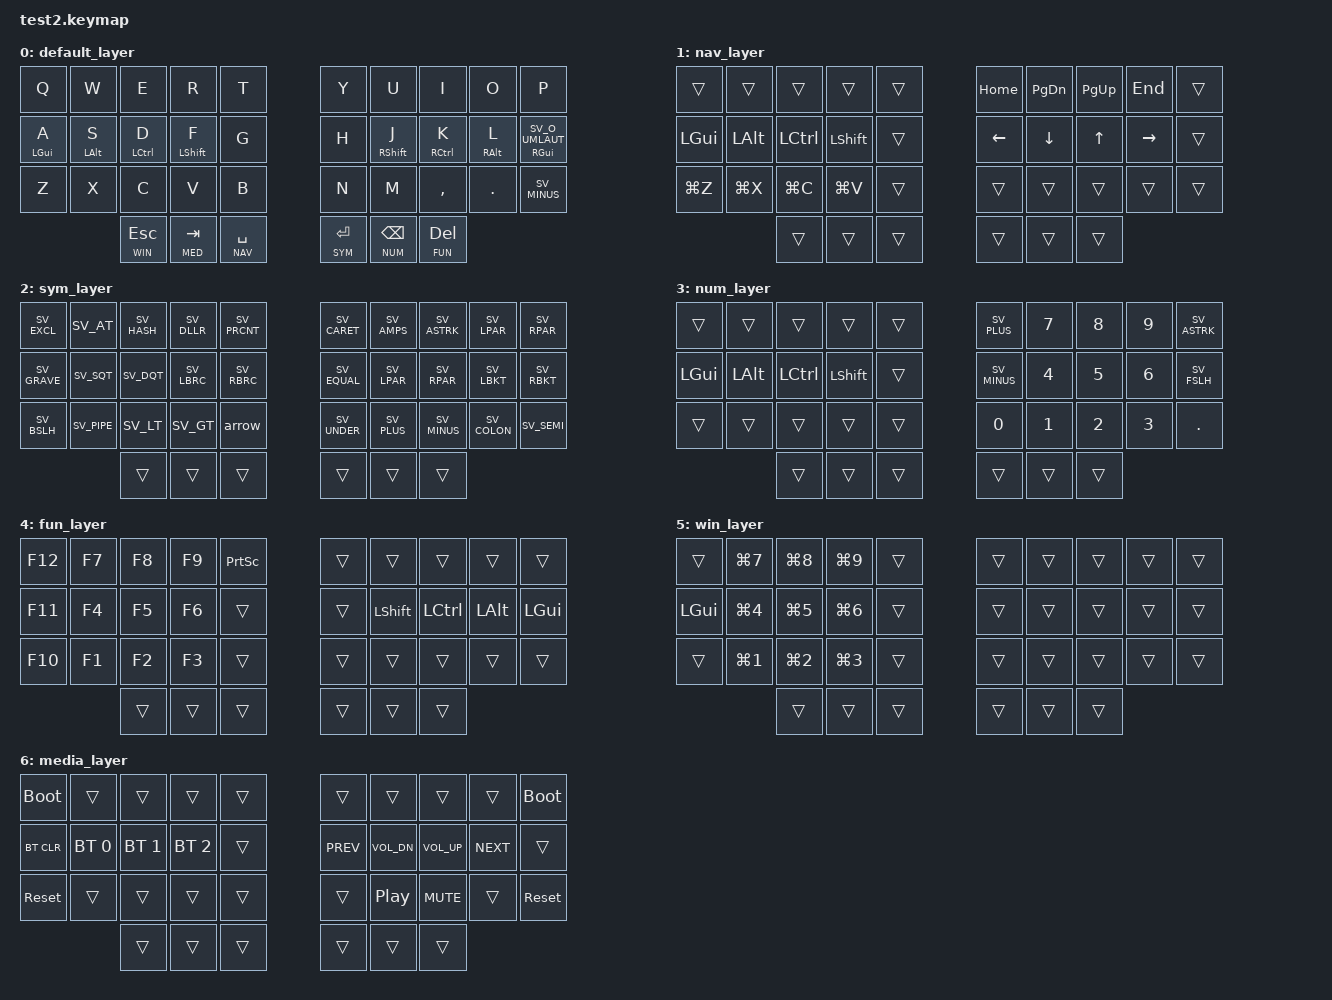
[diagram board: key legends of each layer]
 /*
 * Copyright (c) 2025 ZMK Contributors
 *
 * SPDX-License-Identifier: MIT
 */

#include <behaviors.dtsi>
#include <dt-bindings/zmk/keys.h>
#include <dt-bindings/zmk/bt.h>
#include <dt-bindings/zmk/outputs.h>
#include "../../../config/keys_sv.h"

/* Layer Definitions */
#define BASE 0
#define NAV  1
#define SYM  2
#define NUM  3
#define FUN  4
#define WIN  5
#define MED  6

/ {
    behaviors {
        hm: homerow_mods {
            compatible = "zmk,behavior-hold-tap";
            label = "HOMEROW_MODS";
            #binding-cells = <2>;
            tapping-term-ms = <200>;
            quick-tap-ms = <175>;
            require-prior-idle-ms = <150>;
            flavor = "tap-preferred";
            bindings = <&kp>, <&kp>;
        };
    };

    macros {
        /* Common Python/Programming arrows */
        arrow: arrow {
            compatible = "zmk,behavior-macro";
            #binding-cells = <0>;
            bindings = <&kp SV_MINUS &kp SV_GT>;
            label = "ARROW";
        };
        fat_arrow: fat_arrow {
            compatible = "zmk,behavior-macro";
            #binding-cells = <0>;
            bindings = <&kp SV_EQUAL &kp SV_GT>;
            label = "FAT_ARROW";
        };
    };

    keymap {
        compatible = "zmk,keymap";

        /* 
         * BASE Layer: QWERTY with Home Row Mods
         * Left Thumbs:  WIN/ESC,  MED/TAB,   NAV/SPACE
         * Right Thumbs: SYM/RET,  NUM/BSPC,  FUN/DEL
         */
        default_layer {
            bindings = <
                &kp Q       &kp W       &kp E       &kp R       &kp T         &kp Y       &kp U       &kp I       &kp O       &kp P
                &hm LGUI A  &hm LALT S  &hm LCTRL D &hm LSHFT F &kp G         &kp H       &hm RSHFT J &hm RCTRL K &hm RALT L  &hm RGUI SV_O_UMLAUT
                &kp Z       &kp X       &kp C       &kp V       &kp B         &kp N       &kp M       &kp COMMA   &kp DOT     &kp SV_MINUS
                                        &lt WIN ESC &lt MED TAB &lt NAV SPACE &lt SYM RET &lt NUM BSPC &lt FUN DEL
            >;
        };

        /* 
         * NAV Layer: Vim Navigation & Clipboard
         * Accessed via Inner Left Thumb (Space)
         */
        nav_layer {
            bindings = <
                &trans      &trans      &trans      &trans      &trans        &kp HOME    &kp PG_DN   &kp PG_UP   &kp END     &trans
                &kp LGUI    &kp LALT    &kp LCTRL   &kp LSHFT   &trans        &kp LEFT    &kp DOWN    &kp UP      &kp RIGHT   &trans
                &kp LG(Z)   &kp LG(X)   &kp LG(C)   &kp LG(V)   &trans        &trans      &trans      &trans      &trans      &trans
                                        &trans      &trans      &trans        &trans      &trans      &trans
            >;
        };

        /* 
         * SYM Layer: Python Optimized (Swedish Keys)
         * Accessed via Inner Right Thumb (Enter)
         */
        sym_layer {
            bindings = <
                &kp SV_EXCL &kp SV_AT   &kp SV_HASH &kp SV_DLLR &kp SV_PRCNT  &kp SV_CARET &kp SV_AMPS &kp SV_ASTRK &kp SV_LPAR &kp SV_RPAR
                &kp SV_GRAVE &kp SV_SQT &kp SV_DQT  &kp SV_LBRC &kp SV_RBRC   &kp SV_EQUAL &kp SV_LPAR &kp SV_RPAR &kp SV_LBKT &kp SV_RBKT
                &kp SV_BSLH &kp SV_PIPE &kp SV_LT   &kp SV_GT   &arrow        &kp SV_UNDER &kp SV_PLUS &kp SV_MINUS &kp SV_COLON &kp SV_SEMI
                                        &trans      &trans      &trans        &trans      &trans      &trans
            >;
        };

        /* 
         * NUM Layer: Numpad
         * Accessed via Middle Right Thumb (Backspace)
         */
        num_layer {
            bindings = <
                &trans      &trans      &trans      &trans      &trans        &kp SV_PLUS &kp N7      &kp N8      &kp N9      &kp SV_ASTRK
                &kp LGUI    &kp LALT    &kp LCTRL   &kp LSHFT   &trans        &kp SV_MINUS &kp N4     &kp N5      &kp N6      &kp SV_FSLH
                &trans      &trans      &trans      &trans      &trans        &kp N0      &kp N1      &kp N2      &kp N3      &kp DOT
                                        &trans      &trans      &trans        &trans      &trans      &trans
            >;
        };

        /* 
         * FUN Layer: F-Keys & System
         * Accessed via Outer Right Thumb (Delete)
         */
        fun_layer {
            bindings = <
                &kp F12     &kp F7      &kp F8      &kp F9      &kp PSCRN     &trans      &trans      &trans      &trans      &trans
                &kp F11     &kp F4      &kp F5      &kp F6      &trans        &trans      &kp LSHFT   &kp LCTRL   &kp LALT    &kp LGUI
                &kp F10     &kp F1      &kp F2      &kp F3      &trans        &trans      &trans      &trans      &trans      &trans
                                        &trans      &trans      &trans        &trans      &trans      &trans
            >;
        };

        /* 
         * WIN Layer: Window Management & Workspaces
         * Accessed via Outer Left Thumb (Esc)
         */
        win_layer {
            bindings = <
                &trans      &kp LG(N7)  &kp LG(N8)  &kp LG(N9)  &trans        &trans      &trans      &trans      &trans      &trans
                &kp LGUI    &kp LG(N4)  &kp LG(N5)  &kp LG(N6)  &trans        &trans      &trans      &trans      &trans      &trans
                &trans      &kp LG(N1)  &kp LG(N2)  &kp LG(N3)  &trans        &trans      &trans      &trans      &trans      &trans
                                        &trans      &trans      &trans        &trans      &trans      &trans
            >;
        };

        /* 
         * MED Layer: Media & Bluetooth
         * Accessed via Middle Left Thumb (Tab)
         */
        media_layer {
            bindings = <
                &bootloader &trans      &trans      &trans      &trans        &trans      &trans      &trans      &trans      &bootloader
                &bt BT_CLR  &bt BT_SEL 0 &bt BT_SEL 1 &bt BT_SEL 2 &trans     &kp C_PREV  &kp C_VOL_DN &kp C_VOL_UP &kp C_NEXT &trans
                &sys_reset  &trans      &trans      &trans      &trans        &trans      &kp C_PP    &kp C_MUTE  &trans      &sys_reset
                                        &trans      &trans      &trans        &trans      &trans      &trans
            >;
        };
    };
};
